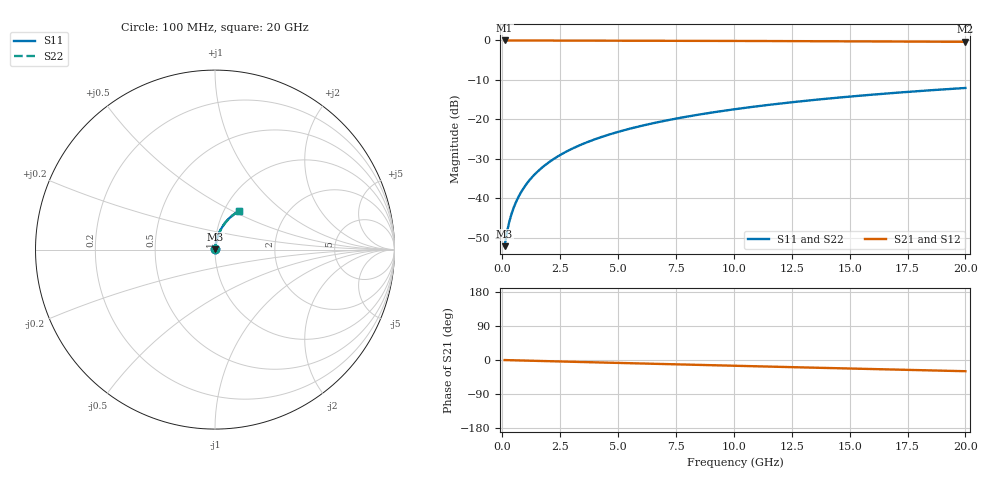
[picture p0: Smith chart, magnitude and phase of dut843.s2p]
! Touchstone file exported from HFSS 2026.1.0
!  File:  C:/ffzhzh/LocalFiles/Ansys_Project_Files/temp_train_TMRDL_843_1783156842_51560.aedt
!  Generated:  05:21:55 PM Jul  4, 2026
!  Design:  TMRDL
!  Project:  temp_train_TMRDL_843_1783156842_51560
! Variables:
!  h_bsmrdl = 2um
!  h_ox = 20um
!  h_rdl = 5um
!  h_sub = 80um
!  h_tmrdl = 4.31um
!  h_tsv = 80um
!  h_via = 3um
!  l_bsmrdl = 300um
!  l_sub = 838.61um
!  l_tmrdl = 438.61um
!  m_sub = 200um
!  pitch = 40.72um
!  r_tsv = 6um
!  s_tmrdl = 10um
!  w_bsmrdl = 18um
!  w_sub = 500um
!  w_tmrdl = 20.73um
!  x_tsv_center1 = 448.975um
!  x_tsv_center2 = 766.975um
!  x_tsv_center3 = 1226.315um
!  x_tsv_center4 = 1544.315um
!  x_tsv_center5 = 2003.655um
!  x_tsv_center6 = 2321.655um
# GHz S MA R 50.000000
! Terminal data exported
! Port[1] = TM_RDL1_1_T1
! Port[2] = TM_RDL1_1_T2
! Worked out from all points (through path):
!   200 points, 100 MHz to 20 GHz, reference 50 ohm
!   highest |S21| = -0.02 dB at 100 MHz (marker M1); lowest = -0.4 dB at 20 GHz (marker M2)
!   group delay of S21, straight-line fit = 4.11 ps
!   lowest |S11| = -52.1 dB at 100 MHz (marker M3), VSWR 1.00, Z = 50.2 + j0.158 ohm
!   |S11| at or under -10 dB: start of sweep to end of sweep
!   |S22| runs from -52.1 to -12.0 dB; largest |S21 - S12| = 3.2e-15
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0.1  0.002484 39.4  0.9981 -0.2  0.9981 -0.2  0.002484 39.4
! Gamma 0 0 0 0
! Port Impedance 50 0 50 0
0.2  0.003705 56.6  0.998 -0.3  0.998 -0.3  0.003705 56.6
0.3  0.005037 64.4  0.9979 -0.5  0.9979 -0.5  0.005036 64.4
0.4  0.006383 68.9  0.9978 -0.6  0.9978 -0.6  0.006381 68.9
0.5  0.007732 71.8  0.9977 -0.8  0.9977 -0.8  0.007731 71.8
0.6  0.009088 74.0  0.9976 -0.9  0.9976 -0.9  0.009087 74.0
0.8  0.01182 76.8  0.9975 -1.3  0.9975 -1.3  0.01182 76.8
1.1  0.01596 79.1  0.9974 -1.7  0.9974 -1.7  0.01596 79.1
1.3  0.01874 80.0  0.9973 -2.0  0.9973 -2.0  0.01874 80.0
1.6  0.02291 80.7  0.9971 -2.5  0.9971 -2.5  0.02291 80.7
2.1  0.02987 81.2  0.9967 -3.3  0.9967 -3.3  0.02987 81.2
2.7  0.03819 81.1  0.9962 -4.2  0.9962 -4.2  0.03819 81.1
3.5  0.04919 80.5  0.9953 -5.4  0.9953 -5.4  0.04919 80.5
4.2  0.05871 79.7  0.9944 -6.5  0.9944 -6.5  0.05871 79.7
5  0.06946 78.7  0.9933 -7.7  0.9933 -7.7  0.06946 78.7
5.9  0.08141 77.6  0.9919 -9.1  0.9919 -9.1  0.08141 77.6
6.8  0.09321 76.4  0.9904 -10.4  0.9904 -10.4  0.09321 76.4
8.3  0.1125 74.3  0.9878 -12.7  0.9878 -12.7  0.1125 74.3
10.1  0.1353 71.9  0.9843 -15.3  0.9843 -15.3  0.1353 71.9
13.4  0.1755 67.4  0.9769 -20.2  0.9769 -20.2  0.1755 67.4
16.7  0.2138 62.8  0.9686 -24.9  0.9686 -24.9  0.2138 62.9
20  0.2499 58.4  0.9594 -29.6  0.9594 -29.6  0.2499 58.4
